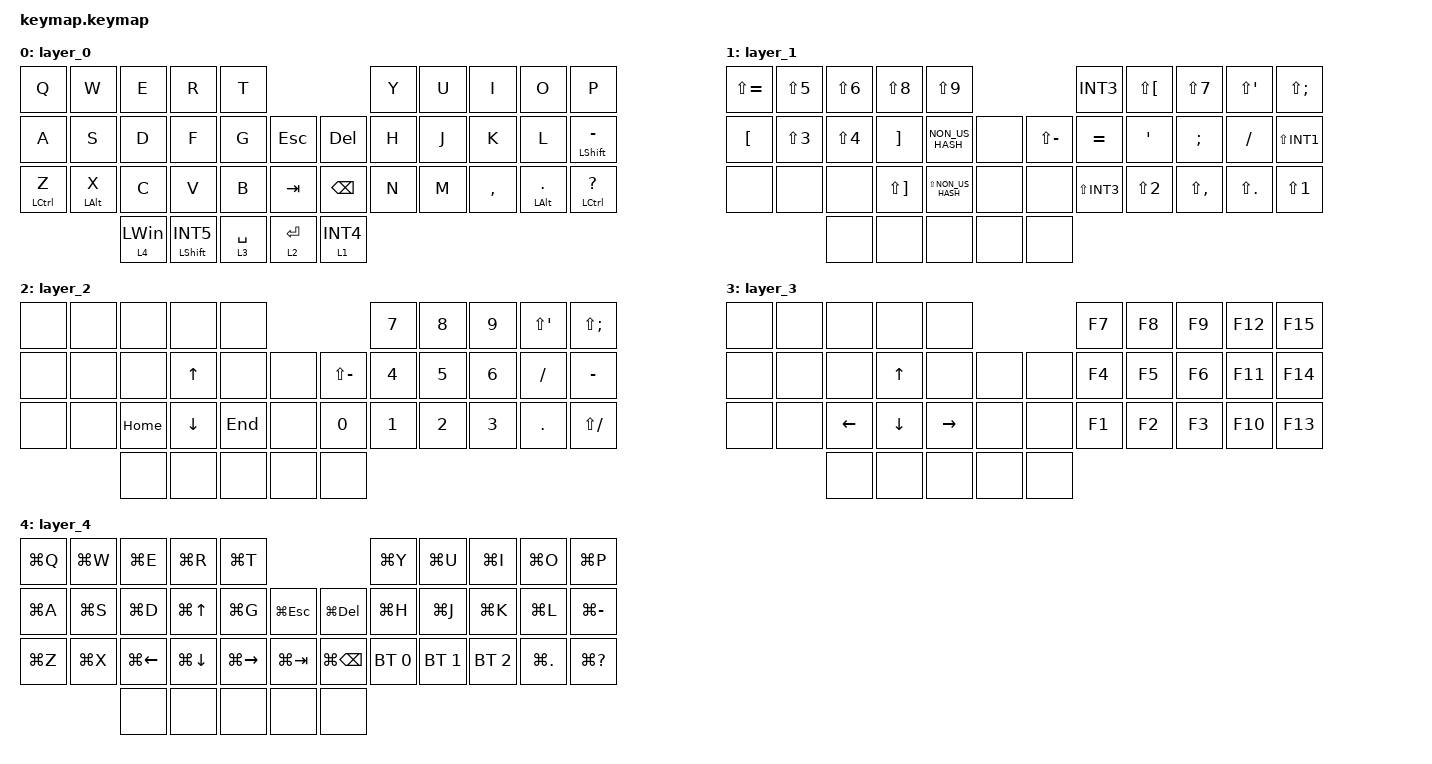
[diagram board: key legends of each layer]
#include <behaviors.dtsi>
#include <dt-bindings/zmk/keys.h>
#include <dt-bindings/zmk/bt.h>

//* ==================== ZMK標準の「lt」と「mt」の挙動を直接上書き変更 ==================== */
&lt {
    flavor = "hold-preferred";
    tapping-term-ms = <200>;
    quick-tap-ms = <200>; // 2連打ホールドでキーを連打リピート
};

&mt {
    flavor = "hold-preferred";
    tapping-term-ms = <200>;
    quick-tap-ms = <200>; // 2連打ホールドでキーを連打リピート
};

/ {
    keymap {
        compatible = "zmk,keymap";

        layer_0 {
            bindings =<
                &kp Q         &kp W        &kp E       &kp R            &kp T                                         &kp Y      &kp U      &kp I      &kp O        &kp P
				&kp A         &kp S        &kp D       &kp F            &kp G            &kp ESC          &kp DEL     &kp H      &kp J      &kp K      &kp L        &mt LSHFT MINUS
				&mt LCTRL Z   &mt LALT X   &kp C       &kp V            &kp B            &kp TAB          &kp BSPC    &kp N      &kp M      &kp COMMA  &mt LALT DOT &mt LCTRL QMARK
				                           &lt 4 LWIN  &mt LSHFT INT5   &lt 3 SPACE      &lt 2 ENTER      &lt 1 INT4
                      >;
                };

        layer_1 {
            bindings =<            
				&kp LS(EQUAL) &kp LS(N5)   &kp LS(N6)   &kp LS(N8)   &kp LS(N9)                   &kp INT3      &kp LS(LBKT) &kp LS(N7)   &kp LS(SQT)  &kp LS(SEMI)
				&kp LBKT     &kp LS(N3)   &kp LS(N4)   &kp RBKT     &kp NON_US_HASH     &none    &kp LS(MINUS) &kp EQUAL    &kp SQT      &kp SEMI     &kp SLASH    &kp LS(INT1)
				&none        &none        &none        &kp LS(RBKT) &kp LS(NON_US_HASH) &none    &none         &kp LS(INT3) &kp LS(N2)   &kp LS(COMMA) &kp LS(DOT) &kp LS(N1)
                                                        &none        &none              &none    &none         &none
                     >;
               };

        layer_2 {
            bindings =<            
                &none         &none        &none        &none        &none                                      &kp N7       &kp N8       &kp N9       &kp LS(SQT)  &kp LS(SEMI)
                &none         &none        &none        &kp UP       &none        &none           &kp LS(MINUS) &kp N4       &kp N5       &kp N6       &kp SLASH    &kp MINUS
                &none         &none        &kp HOME     &kp DOWN     &kp END      &none           &kp N0        &kp N1       &kp N2       &kp N3       &kp DOT      &kp LS(SLASH)
                                                        &none        &none        &none           &none         &none
                      >;
                };

        layer_3 {
            bindings =<
				&none       &none       &none       &none        &none                                   &kp F7   &kp F8      &kp F9    &kp F12        &kp F15
				&none       &none       &none       &kp UP       &none        &none       &none          &kp F4   &kp F5      &kp F6    &kp F11        &kp F14
				&none       &none       &kp LEFT    &kp DOWN     &kp RIGHT    &none       &none          &kp F1   &kp F2      &kp F3    &kp F10        &kp F13
                                                    &none        &none        &none       &none          &none
                      >;
                };
        
        // Layer 4: 特殊操作レイヤー (LWINモディファイアを伴う)
        layer_4 {
            bindings = <
                &kp LG(Q)     &kp LG(W)    &kp LG(E)    &kp LG(R)    &kp LG(T)                                            &kp LG(Y)    &kp LG(U)    &kp LG(I)    &kp LG(O)    &kp LG(P)
                &kp LG(A)     &kp LG(S)    &kp LG(D)    &kp LG(UP)   &kp LG(G)     &kp LG(ESC)        &kp LG(DEL)         &kp LG(H)    &kp LG(J)    &kp LG(K)    &kp LG(L)    &kp LG(MINUS)
                &kp LG(Z)     &kp LG(X)    &kp LG(LEFT) &kp LG(DOWN) &kp LG(RIGHT) &kp LG(TAB)        &kp LG(BSPC)        &bt BT_SEL 0 &bt BT_SEL 1 &bt BT_SEL 2 &kp LG(DOT)  &kp LG(QMARK)
                                                        &none        &none         &none              &none               &none
                                                        
                                   
                       >;
                };
        
           };
};

